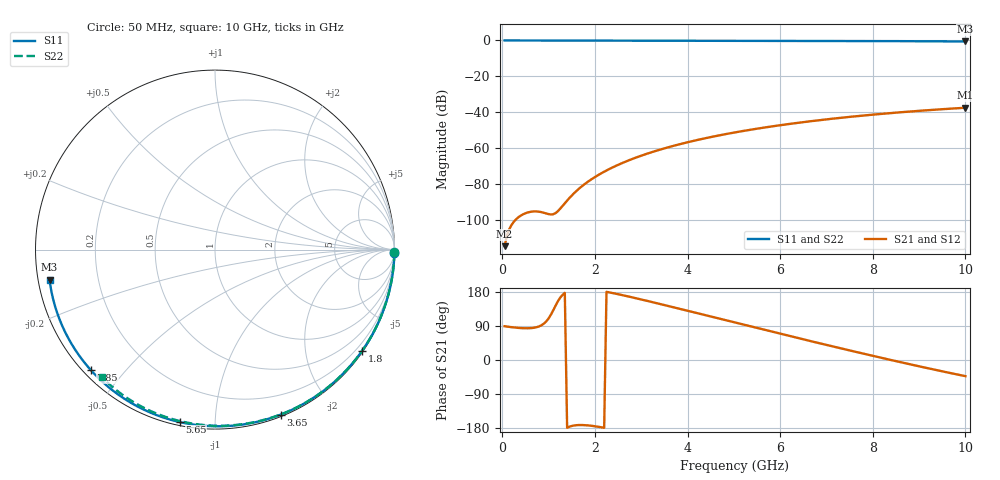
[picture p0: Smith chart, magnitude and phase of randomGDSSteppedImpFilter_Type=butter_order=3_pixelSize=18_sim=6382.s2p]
! freq	dB(S11)	phase(S11)	dB(S12)	phase(S12)
!  dB(S21)	phase(S21)	dB(S22)	phase(S22)
!S-par simulation data
#  GHz  S  DB  R 50
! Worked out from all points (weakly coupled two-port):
!   200 points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, 50 MHz to 10 GHz, reference 50 ohm
!   highest |S21| = -37.46 dB at 10 GHz (marker M1); lowest = -114.5 dB at 50 MHz (marker M2)
!   lowest |S11| = -0.6 dB at 10 GHz (marker M3), VSWR 30.75, Z = 1.64 - j4.48 ohm
!   |S11| at or under -10 dB: nowhere
!   |S22| runs from -0.4 to 0.0 dB; largest |S21 - S12| = 0
!   S11 on the Smith chart (normalised r, x): 50 MHz: open; 1.8 GHz: 0.03, -3.20; 3.65 GHz: 0.02, -1.48; 5.65 GHz: 0.02, -0.82; 7.85 GHz: 0.02, -0.41; 10 GHz: 0.03, -0.09
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0.05  -0.00 -1.0  -114.53 89.1  -114.53 89.1  -0.00 -0.8
0.45  -0.01 -8.8  -96.75 83.9  -96.75 83.9  -0.01 -6.8
0.85  -0.02 -16.6  -95.62 92.0  -95.62 92.0  -0.02 -12.8
1.3  -0.03 -25.2  -92.16 171.7  -92.16 171.7  -0.02 -19.6
1.75  -0.04 -33.7  -80.54 -171.7  -80.54 -171.7  -0.03 -26.2
1.8  -0.04 -34.7  -79.56 -172.1  -79.56 -172.1  -0.03 -27.0
2.1  -0.05 -40.3  -74.50 -176.8  -74.50 -176.8  -0.04 -31.3
2.3  -0.06 -44.0  -71.72 178.7  -71.72 178.7  -0.04 -34.3
2.5  -0.06 -47.7  -69.26 173.7  -69.26 173.7  -0.05 -37.1
2.9  -0.07 -55.0  -65.08 162.6  -65.08 162.6  -0.06 -42.9
3.4  -0.08 -63.9  -60.83 148.0  -60.83 148.0  -0.07 -49.9
3.65  -0.09 -68.2  -58.99 140.5  -58.99 140.5  -0.07 -53.4
4.35  -0.11 -80.2  -54.62 119.3  -54.62 119.3  -0.09 -63.0
5.05  -0.14 -91.9  -51.07 98.0  -51.07 98.0  -0.11 -72.2
5.65  -0.17 -101.6  -48.52 79.9  -48.52 79.9  -0.13 -80.0
6.15  -0.20 -109.5  -46.66 64.9  -46.66 64.9  -0.15 -86.3
6.7  -0.23 -118.1  -44.84 48.6  -44.84 48.6  -0.18 -93.1
7.25  -0.27 -126.6  -43.23 32.5  -43.23 32.5  -0.21 -99.8
7.85  -0.32 -135.8  -41.67 15.3  -41.67 15.3  -0.25 -106.9
8.35  -0.37 -143.5  -40.51 1.2  -40.51 1.2  -0.29 -112.7
9.2  -0.46 -156.8  -38.81 -22.0  -38.81 -22.0  -0.36 -122.5
10  -0.57 -169.7  -37.46 -42.6  -37.46 -42.6  -0.45 -131.5
